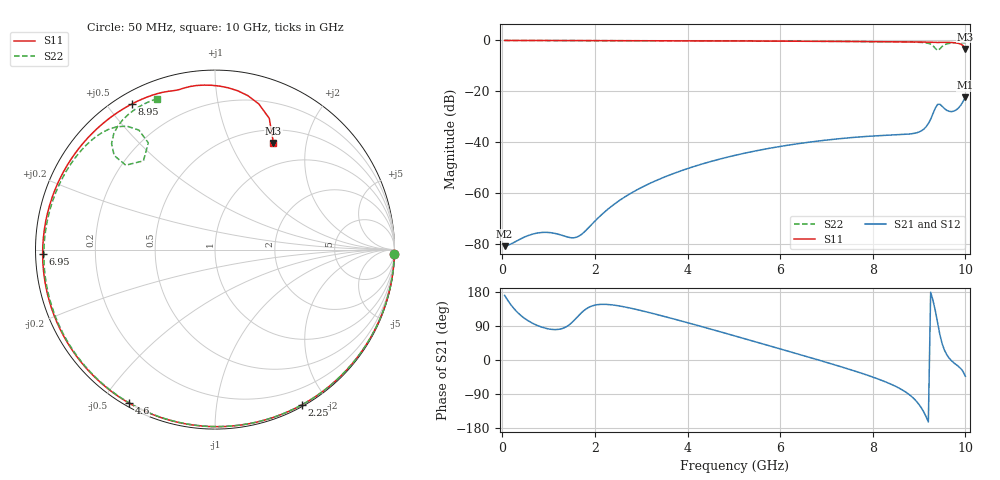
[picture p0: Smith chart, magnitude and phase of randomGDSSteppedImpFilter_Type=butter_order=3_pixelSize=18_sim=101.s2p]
! freq	dB(S11)	phase(S11)	dB(S12)	phase(S12)
!  dB(S21)	phase(S21)	dB(S22)	phase(S22)
!S-par simulation data
#  GHz  S  DB  R 50
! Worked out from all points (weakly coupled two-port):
!   200 points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, 50 MHz to 10 GHz, reference 50 ohm
!   highest |S21| = -22.25 dB at 10 GHz (marker M1); lowest = -80.7 dB at 50 MHz (marker M2)
!   lowest |S11| = -3.4 dB at 10 GHz (marker M3), VSWR 5.21, Z = 33.4 + j73.6 ohm
!   |S11| at or under -10 dB: nowhere
!   |S22| runs from -3.9 to 0.0 dB; largest |S21 - S12| = 0
!   S11 on the Smith chart (normalised r, x): 50 MHz: 0, -82; 2.25 GHz: 0.02, -1.71; 4.6 GHz: 0.01, -0.58; 6.95 GHz: 0.02, -0.01; 8.95 GHz: 0.05, +0.58; 10 GHz: 0.67, +1.47
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0.05  -0.00 -1.4  -80.72 170.6  -80.72 170.6  -0.00 -1.2
0.8  -0.03 -22.1  -75.45 89.0  -75.45 89.0  -0.02 -19.8
1.5  -0.05 -41.0  -77.43 98.5  -77.43 98.5  -0.05 -36.8
1.75  -0.06 -47.6  -75.50 129.1  -75.50 129.1  -0.05 -42.8
2.25  -0.08 -60.7  -66.66 146.7  -66.66 146.7  -0.07 -54.6
3.4  -0.12 -89.9  -54.36 118.1  -54.36 118.1  -0.11 -81.0
4.6  -0.17 -119.3  -47.01 78.1  -47.01 78.1  -0.16 -107.7
5.05  -0.20 -130.3  -44.98 62.6  -44.98 62.6  -0.18 -117.6
6.7  -0.33 -171.8  -39.74 4.6  -39.74 4.6  -0.31 -154.8
6.95  -0.35 -178.5  -39.19 -4.4  -39.19 -4.4  -0.33 -160.8
7.65  -0.42 161.9  -37.95 -30.6  -37.95 -30.6  -0.41 -178.5
8.35  -0.50 140.4  -37.17 -61.5  -37.17 -61.5  -0.51 161.7
8.95  -0.59 119.8  -36.21 -110.0  -36.21 -110.0  -0.69 141.0
9.1  -0.63 114.1  -34.82 -136.9  -34.82 -136.9  -0.85 134.3
9.25  -0.69 108.3  -30.90 178.9  -30.90 178.9  -1.46 125.5
9.35  -0.77 104.5  -26.55 130.5  -26.55 130.5  -3.08 122.0
9.4  -0.79 102.8  -25.08 97.8  -25.08 97.8  -3.94 128.9
9.45  -0.76 100.9  -25.05 66.2  -25.05 66.2  -3.30 136.6
9.55  -0.73 96.3  -26.77 25.4  -26.77 25.4  -1.67 134.3
9.75  -0.87 85.3  -27.74 -7.4  -27.74 -7.4  -0.97 122.8
9.9  -1.43 73.3  -25.42 -22.5  -25.42 -22.5  -0.89 115.5
10  -3.38 61.3  -22.25 -43.1  -22.25 -43.1  -0.91 110.9
